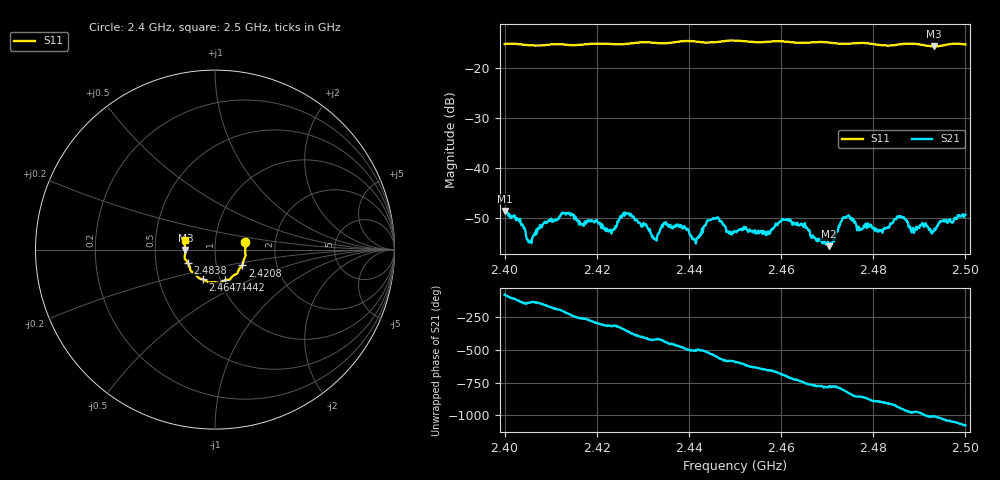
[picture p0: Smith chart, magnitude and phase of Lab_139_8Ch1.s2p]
# Hz S RI R 50
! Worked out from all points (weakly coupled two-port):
!   601 points, 2.4 GHz to 2.5 GHz, reference 50 ohm
!   highest |S21| = -48.67 dB at 2.4 GHz (marker M1); lowest = -55.8 dB at 2.4703 GHz (marker M2)
!   lowest |S11| = -15.6 dB at 2.4932 GHz (marker M3), VSWR 1.40, Z = 35.8 - j0.129 ohm
!   |S11| at or under -10 dB: start of sweep to end of sweep
!   S12 and S22 are empty: the file has one direction only
!   S11 on the Smith chart (normalised r, x): 2.4 GHz: 1.40, +0.12; 2.4208 GHz: 1.33, -0.24; 2.4442 GHz: 1.05, -0.37; 2.4647 GHz: 0.83, -0.28; 2.4838 GHz: 0.73, -0.11; 2.5 GHz: 0.71, +0.08
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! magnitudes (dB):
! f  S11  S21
! 2.4 GHz  -15.2  -48.7
! 2.4053 GHz  -15.4  -55.0
! 2.4127 GHz  -15.2  -49.2
! 2.4167 GHz  -15.3  -51.4
! 2.4208 GHz  -15.1  -51.5
! 2.4233 GHz  -15.2  -52.5
! 2.4267 GHz  -15.1  -49.1
! 2.4333 GHz  -15.0  -53.2
! 2.4378 GHz  -14.7  -51.8
! 2.4413 GHz  -14.7  -54.4
! 2.4442 GHz  -14.9  -50.6
! 2.45 GHz  -14.5  -52.8
! 2.4647 GHz  -14.9  -51.4
! 2.4667 GHz  -14.8  -54.1
! 2.4703 GHz  -14.9  -55.8
! 2.4742 GHz  -15.1  -49.9
! 2.477 GHz  -15.0  -52.6
! 2.4833 GHz  -15.5  -51.9
! 2.4838 GHz  -15.5  -51.1
! 2.486 GHz  -15.2  -49.7
! 2.4932 GHz  -15.6  -52.7
! 2.5 GHz  -15.3  -49.4
